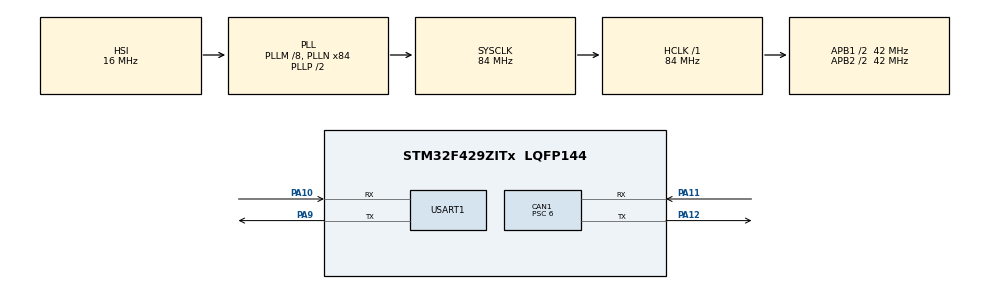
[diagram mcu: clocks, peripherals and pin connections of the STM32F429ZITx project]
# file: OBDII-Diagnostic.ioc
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CAN1.BS1=CAN_BS1_11TQ
CAN1.BS2=CAN_BS2_2TQ
CAN1.CalculateBaudRate=500000
CAN1.CalculateTimeBit=2000
CAN1.CalculateTimeQuantum=142.85714285714286
CAN1.Mode=CAN_MODE_NORMAL
CAN1.Prescaler=6
Mcu.Family=STM32F4
Mcu.Name=STM32F429ZITx
Mcu.Package=LQFP144
NVIC.CAN1_RX0_IRQn=true\:0\:0\:false\:false\:true\:true\:true\:true
NVIC.CAN1_RX1_IRQn=true\:0\:0\:false\:false\:true\:true\:true\:true
NVIC.CAN1_TX_IRQn=true\:0\:0\:false\:false\:true\:true\:true\:true
NVIC.PriorityGroup=NVIC_PRIORITYGROUP_4
PA10.Mode=Asynchronous
PA10.Signal=USART1_RX
PA11.Mode=CAN_Activate
PA11.Signal=CAN1_RX
PA12.Mode=CAN_Activate
PA12.Signal=CAN1_TX
PA9.Mode=Asynchronous
PA9.Signal=USART1_TX
PB5.Signal=CAN2_RX
PB6.Signal=CAN2_TX
ProjectManager.HeapSize=0x200
ProjectManager.StackSize=0x400
ProjectManager.TargetToolchain=STM32CubeIDE
RCC.48MHZClocksFreq_Value=24000000
RCC.AHBFreq_Value=84000000
RCC.APB1CLKDivider=RCC_HCLK_DIV2
RCC.APB1Freq_Value=42000000
RCC.APB1TimFreq_Value=84000000
RCC.APB2CLKDivider=RCC_HCLK_DIV2
RCC.APB2Freq_Value=42000000
RCC.APB2TimFreq_Value=84000000
RCC.CortexFreq_Value=84000000
RCC.HCLKFreq_Value=84000000
RCC.HSE_VALUE=8000000
RCC.HSI_VALUE=16000000
RCC.LSE_VALUE=32768
RCC.PLLM=8
RCC.PLLN=84
RCC.PLLQ=7
RCC.PLLSAIN=50
RCC.SYSCLKFreq_VALUE=84000000
RCC.SYSCLKSource=RCC_SYSCLKSOURCE_PLLCLK
RCC.VCOOutputFreq_Value=168000000
USART1.VirtualMode=VM_ASYNC
board=STM32F429I-DISC1

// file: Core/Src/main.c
/* USER CODE BEGIN Header */
/**
  ******************************************************************************
  * @file           : main.c
  * @brief          : Main program body
  ******************************************************************************
  * @attention
  *
  * Copyright (c) 2026 STMicroelectronics.
  * All rights reserved.
  *
  * This software is licensed under terms that can be found in the LICENSE file
  * in the root directory of this software component.
  * If no LICENSE file comes with this software, it is provided AS-IS.
  *
  ******************************************************************************
  */
/* USER CODE END Header */
#include "main.h"
#include <string.h>	//used for strlen();
#include <stdio.h>	//used for sprintf();
#include <stdlib.h> //used for strtol();

CAN_HandleTypeDef hcan1;

UART_HandleTypeDef huart1;

void SystemClock_Config(void);
static void MX_GPIO_Init(void);
static void MX_USART1_UART_Init(void);
static void MX_CAN1_Init(void);
/* USER CODE BEGIN PFP */
void obd_submenu_and_handle (void); //Main menu with PID selection
void CAN_Send_RPM_Request (void);	//Send CAN frame regarding RPM used only for testing
void CAN_Send_Request(void);		//Send CAN frame
/* USER CODE END PFP */

/* USER CODE BEGIN 0 */
uint8_t generic_pid;
typedef enum
{
    OBD_IDLE = 0,
    OBD_RPM,
    OBD_SPEED,
    OBD_OTEMP,
    OBD_LOAD,
    OBD_HEX
} OBD_State_t;

volatile OBD_State_t obd_state = OBD_IDLE;
/* USER CODE END 0 */

int main(void)
{

  /* MCU Configuration--------------------------------------------------------*/

  /* Reset of all peripherals, Initializes the Flash interface and the Systick. */
  HAL_Init();

  /* Configure the system clock */
  SystemClock_Config();

  /* Initialize all configured peripherals */
  MX_GPIO_Init();
  MX_USART1_UART_Init();
  MX_CAN1_Init();
  /* USER CODE BEGIN 2 */
  HAL_CAN_Start(&hcan1);
  HAL_CAN_ActivateNotification(&hcan1, CAN_IT_RX_FIFO0_MSG_PENDING); //To activate interrupt from CAN

  uint8_t msg_avvio[] = "Avvio diagnostica\r\n";
  HAL_UART_Transmit(&huart1, msg_avvio, sizeof(msg_avvio)-1, HAL_MAX_DELAY);

  //CAN_RxHeaderTypeDef rxHeader;
  //uint8_t rxData[8];
  /* USER CODE END 2 */

  /* Infinite loop */
  /* USER CODE BEGIN WHILE */
  obd_submenu_and_handle(); //Main menu with PID selection
  while (1)
  {
    /* USER CODE END WHILE */

    /* USER CODE BEGIN 3 */
	  CAN_Send_Request(); //Send CAN frame

	  HAL_Delay(500);

	  //polling attempt, not used since interrupt works correctly
	  /*while (HAL_CAN_GetRxFifoFillLevel(&hcan1, CAN_RX_FIFO0) > 0)
	  {
		  HAL_CAN_GetRxMessage(&hcan1, CAN_RX_FIFO0, &rxHeader, rxData);

		  char msg[64];
		  sprintf(msg, "ID:%03lX DATA: %02X %02X %02X %02X %02X %02X %02X %02X\r\n",
				  rxHeader.StdId,
				  rxData[0], rxData[1], rxData[2], rxData[3],
				  rxData[4], rxData[5], rxData[6], rxData[7]);

		  HAL_UART_Transmit(&huart1, (uint8_t*)msg, strlen(msg), 100);
	  }*/

	  //HAL_Delay(400);
  }
  /* USER CODE END 3 */
}

void SystemClock_Config(void)
{
  RCC_OscInitTypeDef RCC_OscInitStruct = {0};
  RCC_ClkInitTypeDef RCC_ClkInitStruct = {0};

  /** Configure the main internal regulator output voltage
  */
  __HAL_RCC_PWR_CLK_ENABLE();
  __HAL_PWR_VOLTAGESCALING_CONFIG(PWR_REGULATOR_VOLTAGE_SCALE3);

  /** Initializes the RCC Oscillators according to the specified parameters
  * in the RCC_OscInitTypeDef structure.
  */
  RCC_OscInitStruct.OscillatorType = RCC_OSCILLATORTYPE_HSI;
  RCC_OscInitStruct.HSIState = RCC_HSI_ON;
  RCC_OscInitStruct.HSICalibrationValue = RCC_HSICALIBRATION_DEFAULT;
  RCC_OscInitStruct.PLL.PLLState = RCC_PLL_ON;
  RCC_OscInitStruct.PLL.PLLSource = RCC_PLLSOURCE_HSI;
  RCC_OscInitStruct.PLL.PLLM = 8;
  RCC_OscInitStruct.PLL.PLLN = 84;
  RCC_OscInitStruct.PLL.PLLP = RCC_PLLP_DIV2;
  RCC_OscInitStruct.PLL.PLLQ = 7;
  if (HAL_RCC_OscConfig(&RCC_OscInitStruct) != HAL_OK)
  {
    Error_Handler();
  }

  /** Initializes the CPU, AHB and APB buses clocks
  */
  RCC_ClkInitStruct.ClockType = RCC_CLOCKTYPE_HCLK|RCC_CLOCKTYPE_SYSCLK
                              |RCC_CLOCKTYPE_PCLK1|RCC_CLOCKTYPE_PCLK2;
  RCC_ClkInitStruct.SYSCLKSource = RCC_SYSCLKSOURCE_PLLCLK;
  RCC_ClkInitStruct.AHBCLKDivider = RCC_SYSCLK_DIV1;
  RCC_ClkInitStruct.APB1CLKDivider = RCC_HCLK_DIV2;
  RCC_ClkInitStruct.APB2CLKDivider = RCC_HCLK_DIV2;

  if (HAL_RCC_ClockConfig(&RCC_ClkInitStruct, FLASH_LATENCY_2) != HAL_OK)
  {
    Error_Handler();
  }
}

static void MX_CAN1_Init(void)
{

  hcan1.Instance = CAN1;
  hcan1.Init.Prescaler = 6;
  hcan1.Init.Mode = CAN_MODE_NORMAL;
  hcan1.Init.SyncJumpWidth = CAN_SJW_1TQ;
  hcan1.Init.TimeSeg1 = CAN_BS1_11TQ;
  hcan1.Init.TimeSeg2 = CAN_BS2_2TQ;
  hcan1.Init.TimeTriggeredMode = DISABLE;
  hcan1.Init.AutoBusOff = DISABLE;
  hcan1.Init.AutoWakeUp = DISABLE;
  hcan1.Init.AutoRetransmission = DISABLE;
  hcan1.Init.ReceiveFifoLocked = DISABLE;
  hcan1.Init.TransmitFifoPriority = DISABLE;
  if (HAL_CAN_Init(&hcan1) != HAL_OK)
  {
    Error_Handler();
  }
  /* USER CODE BEGIN CAN1_Init 2 */
  //filter settings
  CAN_FilterTypeDef filter = {0};
  filter.FilterBank = 0;
  filter.SlaveStartFilterBank = 14;      // banco CAN2 (non usato)
  filter.FilterMode = CAN_FILTERMODE_IDMASK;
  filter.FilterScale = CAN_FILTERSCALE_32BIT;
  filter.FilterIdHigh = 0x0000;			// All packets accepted
  filter.FilterIdLow = 0x0000;			// All packets accepted
  filter.FilterMaskIdHigh = 0x0000;		// All packets accepted
  filter.FilterMaskIdLow = 0x0000;		// All packets accepted
  filter.FilterFIFOAssignment = CAN_RX_FIFO0;
  filter.FilterActivation = ENABLE;

  if (HAL_CAN_ConfigFilter(&hcan1, &filter) != HAL_OK) Error_Handler();

  // Avvia CAN1
  if (HAL_CAN_Start(&hcan1) != HAL_OK) Error_Handler();

  /* USER CODE END CAN1_Init 2 */

}

static void MX_USART1_UART_Init(void)
{

  huart1.Instance = USART1;
  huart1.Init.BaudRate = 115200;
  huart1.Init.WordLength = UART_WORDLENGTH_8B;
  huart1.Init.StopBits = UART_STOPBITS_1;
  huart1.Init.Parity = UART_PARITY_NONE;
  huart1.Init.Mode = UART_MODE_TX_RX;
  huart1.Init.HwFlowCtl = UART_HWCONTROL_NONE;
  huart1.Init.OverSampling = UART_OVERSAMPLING_16;
  if (HAL_UART_Init(&huart1) != HAL_OK)
  {
    Error_Handler();
  }

}

static void MX_GPIO_Init(void)
{
  GPIO_InitTypeDef GPIO_InitStruct = {0};

  /* GPIO Ports Clock Enable */
  __HAL_RCC_GPIOA_CLK_ENABLE();
  __HAL_RCC_GPIOB_CLK_ENABLE();

  /*Configure GPIO pins : PB5 PB6 */
  GPIO_InitStruct.Pin = GPIO_PIN_5|GPIO_PIN_6;
  GPIO_InitStruct.Mode = GPIO_MODE_AF_PP;
  GPIO_InitStruct.Pull = GPIO_NOPULL;
  GPIO_InitStruct.Speed = GPIO_SPEED_FREQ_VERY_HIGH;
  GPIO_InitStruct.Alternate = GPIO_AF9_CAN2;
  HAL_GPIO_Init(GPIOB, &GPIO_InitStruct);

}

/* USER CODE BEGIN 4 */
void uart_print(const char *s) {	// Helper function to send data over UART
    HAL_UART_Transmit(&huart1, (uint8_t*)s, strlen(s), HAL_MAX_DELAY);
}
void obd_submenu_and_handle(void)
{
    uart_print("Sottomenu OBD: scegli il PID da leggere:\r\n");
    uart_print("1 -> RPM (0x0C)\r\n");
    uart_print("2 -> Engine Load (0x04)\r\n");
    uart_print("3 -> Speed (0x0D)\r\n");
    uart_print("4 -> Oil Temp (0x5C)\r\n");
    uart_print("5 -> Inserisci PID esadecimale (00-FF)\r\n");
    uart_print("Digita il numero e premi invio (o invia il singolo char)...\r\n");

    uint8_t rx;
    // wait for one char (long timeout)
    while (1) {
        if (HAL_UART_Receive(&huart1, &rx, 1, 10000000) == HAL_OK) {
            // converti
            if (rx == '1') {
                uart_print("Richiesta: RPM\r\n");
                //CAN_Send_RPM_Request();
                obd_state = OBD_RPM;
                break;
            } else if (rx == '2') {
                uart_print("Richiesta: Engine Load\r\n");
                obd_state = OBD_LOAD;
                break;
            } else if (rx == '3') {
                uart_print("Richiesta: Speed\r\n");
                obd_state = OBD_SPEED;
                break;
            } else if (rx == '4') {
                uart_print("Richiesta: Oil Temp\r\n");
                obd_state = OBD_OTEMP;
                break;
            } else if (rx == '5') {
            	//noted PIDs for test: 0x11 butterfly position; 0x05 coolant; 0x0f intake temp; 0x0d speed
                uart_print("Inserisci PID esadecimale (00-FF) e premi invio:\r\n");

                #define UART_BUF_SIZE 3  // max two char + terminator
                char uart_buf[UART_BUF_SIZE];
                uint8_t idx = 0;
                uint8_t c;

                // save what is received from uart until enter
                while (1) {
                    if (HAL_UART_Receive(&huart1, &c, 1, HAL_MAX_DELAY) == HAL_OK) {
                        if (c == '\r' || c == '\n') {
                            uart_buf[idx] = 0;  // string terminator
                            break;
                        }
                        else if ((c >= '0' && c <= '9') || (c >= 'A' && c <= 'F') || (c >= 'a' && c <= 'f')) {
                            if (idx < UART_BUF_SIZE - 1) {
                                uart_buf[idx++] = c;       // add to buffer
                                HAL_UART_Transmit(&huart1, &c, 1, HAL_MAX_DELAY); // echo
						}
					} else { // error for wrong input
						uart_print("\r\nCarattere non valido, inserisci solo 0-9 o A-F\r\n");
					}
				}
			}

			// string converted to uint8_t
			uint8_t pid = (uint8_t)strtol(uart_buf, NULL, 16);

			char msg[64];
			sprintf(msg, "\r\nRichiesta PID esadecimale: 0x%02X\r\n", pid);
			uart_print(msg);

			obd_state = OBD_HEX;
			generic_pid = pid;
			break;
            } else { // Error wrong quick input
                uart_print("Scelta non valida, riprova\r\n");
            }
        } else { // Error timeout
            uart_print("Timeout attesa input UART\r\n");
            break;
        }
    }
}
void CAN_Send_Request(void)
{
    CAN_TxHeaderTypeDef txHeader;
    uint8_t txData[8] = {0};
    uint32_t txMailbox;

    txHeader.StdId = 0x7DF;   // Some cars may prefer: 0x7E0
    txHeader.IDE = CAN_ID_STD;
    txHeader.RTR = CAN_RTR_DATA;
    txHeader.DLC = 8;

    txData[0] = 0x02; // length
    txData[1] = 0x01; // mode: show currant data
    switch (obd_state)
	{
		case OBD_RPM:
		{
			txData[2] = 0x0C; // PID RPM
			break;
		}

		case OBD_SPEED:
		{
			txData[2] = 0x0D; // PID SPEED
			break;
		}

		case OBD_OTEMP:
		{
			txData[2] = 0x5C; // PID OIL TEMP
			break;
		}

		case OBD_LOAD:
		{
			txData[2] = 0x04; // PID ENGINE LOAD
			break;
		}

		case OBD_HEX:
		default:
		{
			txData[2] = generic_pid;
            uart_print("OBD_HEX selected");
			break;
		}
	}

    HAL_CAN_AddTxMessage(&hcan1, &txHeader, txData, &txMailbox);	//send can message
}
void CAN_Send_RPM_Request(void) //asks only for rpm
{
    CAN_TxHeaderTypeDef txHeader;
    uint8_t txData[8] = {0};
    uint32_t txMailbox;

    txHeader.StdId = 0x7DF;
    txHeader.IDE = CAN_ID_STD;
    txHeader.RTR = CAN_RTR_DATA;
    txHeader.DLC = 8;

    txData[0] = 0x02; // length
    txData[1] = 0x01; // mode: show current data
    txData[2] = 0x0C; // PID RPM

    HAL_CAN_AddTxMessage(&hcan1, &txHeader, txData, &txMailbox);
}
void HAL_CAN_RxFifo0MsgPendingCallback(CAN_HandleTypeDef *hcan) //function called by the CAN interrupt
{
	CAN_RxHeaderTypeDef rxHeader;
	uint8_t rxData[8];

	HAL_CAN_GetRxMessage(hcan, CAN_RX_FIFO0, &rxHeader, rxData);

	if (rxHeader.StdId >= 0x7E8 && rxHeader.StdId <= 0x7EF)	//check answerer's ID
	{
		char msg[64];

		switch (obd_state)
		{
			case OBD_RPM:
			{
				uint16_t rpm = ((rxData[3] << 8) | rxData[4]) / 4;	//equation to parse RPMs data
				sprintf(msg, "RPM: %d\r\n", rpm);
				break;
			}
			case OBD_SPEED:
			{
				uint8_t speed = rxData[3];							//equation to parse speed data
				sprintf(msg, "Speed: %d km/h\r\n", speed);
				break;
			}
			case OBD_OTEMP:
			{
				int temp = rxData[3] - 40;							//equation to parse Oil Temp data
				sprintf(msg, "Oil temp: %d C\r\n", temp);
				break;
			}
			case OBD_LOAD:
			{
				int load = (rxData[3] * 100) / 255;					//equation to parse Load data
				sprintf(msg, "Load: %d %%\r\n", load);
				break;
			}
			case OBD_HEX:
			default:
			{
				sprintf(msg,										//printing raw data received to be parsed outside
						"RAW: %02X %02X %02X %02X %02X %02X %02X %02X\r\n",
						rxData[0], rxData[1], rxData[2], rxData[3],
						rxData[4], rxData[5], rxData[6], rxData[7]);
				break;
			}
		}
		HAL_UART_Transmit(&huart1, (uint8_t*)msg, strlen(msg), 100);
	}
}
/* USER CODE END 4 */

void Error_Handler(void)
{
  __disable_irq();
  while (1)
  {
  }
}
